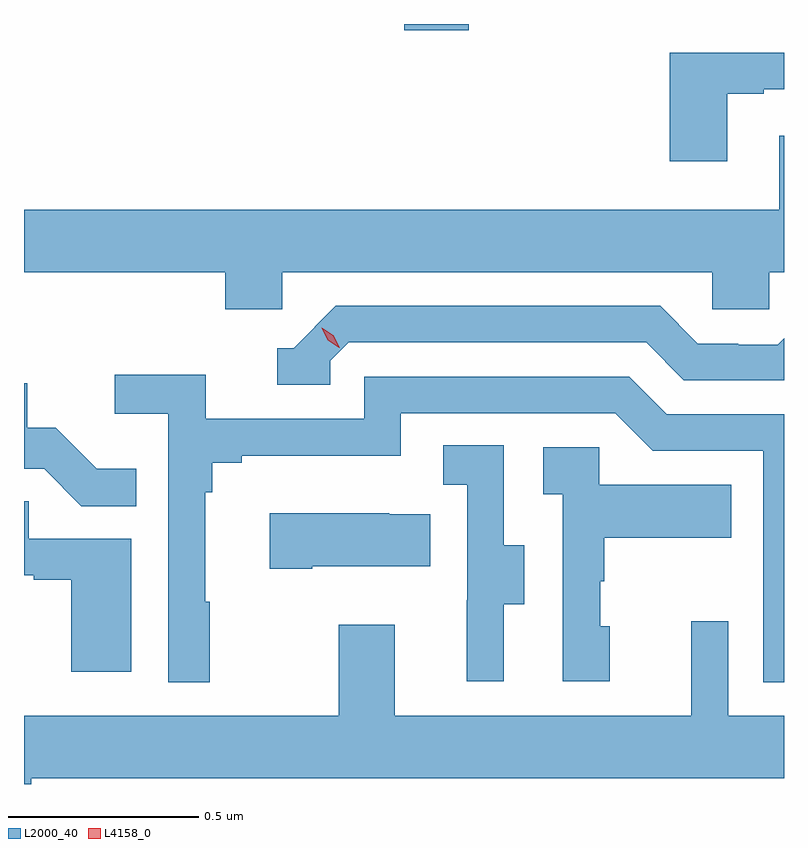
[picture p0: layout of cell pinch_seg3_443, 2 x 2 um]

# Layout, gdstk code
import gdstk
lib = gdstk.Library(unit=1e-6, precision=1e-09)
def R(c, l, rs):  # rectangles x0, y0, x1, y1
    for r in rs: c.add(gdstk.rectangle(r[:2], r[2:], *l))
def P(c, l, *ps):  # polygons
    for p in ps: c.add(gdstk.Polygon(p, *l))
L2000_40 = (2000, 40)
L4158_0 = (4158, 0)

pinch_seg3_443 = lib.new_cell('pinch_seg3_443')
R(pinch_seg3_443, L2000_40, [(951.212,682.905,951.382,682.921)])
P(pinch_seg3_443, L2000_40, [(952.063,682.737),(952.159,682.737),(952.159,682.749),(952.212,682.749),(952.212,682.846),(951.911,682.846),(951.911,682.56),(952.063,682.56)],
  [(950.892,682.268),(952.023,682.268),(952.023,682.17),(952.173,682.17),(952.173,682.268),(952.212,682.268),(952.212,682.627),(952.199,682.627),(952.199,682.432),(950.212,682.432),(950.212,682.268),(950.741,682.268),(950.741,682.17),(950.892,682.17)],
  [(951.018,682.035),(951.066,682.083),(951.849,682.083),(951.948,681.984),(952.212,681.984),(952.212,682.094),(952.195,682.077),(952.092,682.077),(952.092,682.08),(951.985,682.08),(951.886,682.179),(951.033,682.179),(950.922,682.068),(950.879,682.068),(950.879,681.972),(951.018,681.972)],
  [(950.701,681.401),(950.689,681.401),(950.689,681.689),(950.708,681.689),(950.708,681.766),(950.785,681.766),(950.785,681.785),(951.204,681.785),(951.204,681.897),(951.768,681.897),(951.867,681.798),(952.158,681.798),(952.158,681.189),(952.212,681.189),(952.212,681.894),(951.904,681.894),(951.805,681.993),(951.108,681.993),(951.108,681.882),(950.69,681.882),(950.69,681.998),(950.451,681.998),(950.451,681.896),(950.592,681.896),(950.592,681.189),(950.701,681.189)],
  [(950.507,681.751),(950.403,681.751),(950.296,681.858),(950.22,681.858),(950.22,681.975),(950.212,681.975),(950.212,681.75),(950.265,681.75),(950.363,681.652),(950.507,681.652)],
  [(951.475,681.394),(951.529,681.394),(951.529,681.549),(951.474,681.549),(951.474,681.812),(951.315,681.812),(951.315,681.709),(951.378,681.709),(951.378,681.405),(951.377,681.405),(951.377,681.192),(951.475,681.192)],
  [(951.754,681.336),(951.729,681.336),(951.729,681.455),(951.739,681.455),(951.739,681.569),(952.073,681.569),(952.073,681.709),(951.726,681.709),(951.726,681.807),(951.579,681.807),(951.579,681.683),(951.63,681.683),(951.63,681.192),(951.754,681.192)],
  [(950.494,681.567),(950.225,681.567),(950.225,681.665),(950.212,681.665),(950.212,681.471),(950.237,681.471),(950.237,681.459),(950.336,681.459),(950.336,681.216),(950.494,681.216)],
  [(950.971,681.494),(951.281,681.494),(951.281,681.631),(951.173,681.631),(951.173,681.634),(950.859,681.634),(950.859,681.487),(950.971,681.487)],
  [(950.231,680.936),(952.212,680.936),(952.212,681.1),(952.065,681.1),(952.065,681.349),(951.968,681.349),(951.968,681.1),(951.187,681.1),(951.187,681.34),(951.04,681.34),(951.04,681.1),(950.212,681.1),(950.212,680.921),(950.231,680.921)])
P(pinch_seg3_443, L4158_0, [(951.042,682.069),(951.011,682.089),(950.995,682.122),(950.995,682.122),(950.995,682.122),(951.026,682.102),(951.043,682.069),(951.043,682.069)])

lib.write_gds('pinch_seg3_443.gds')
